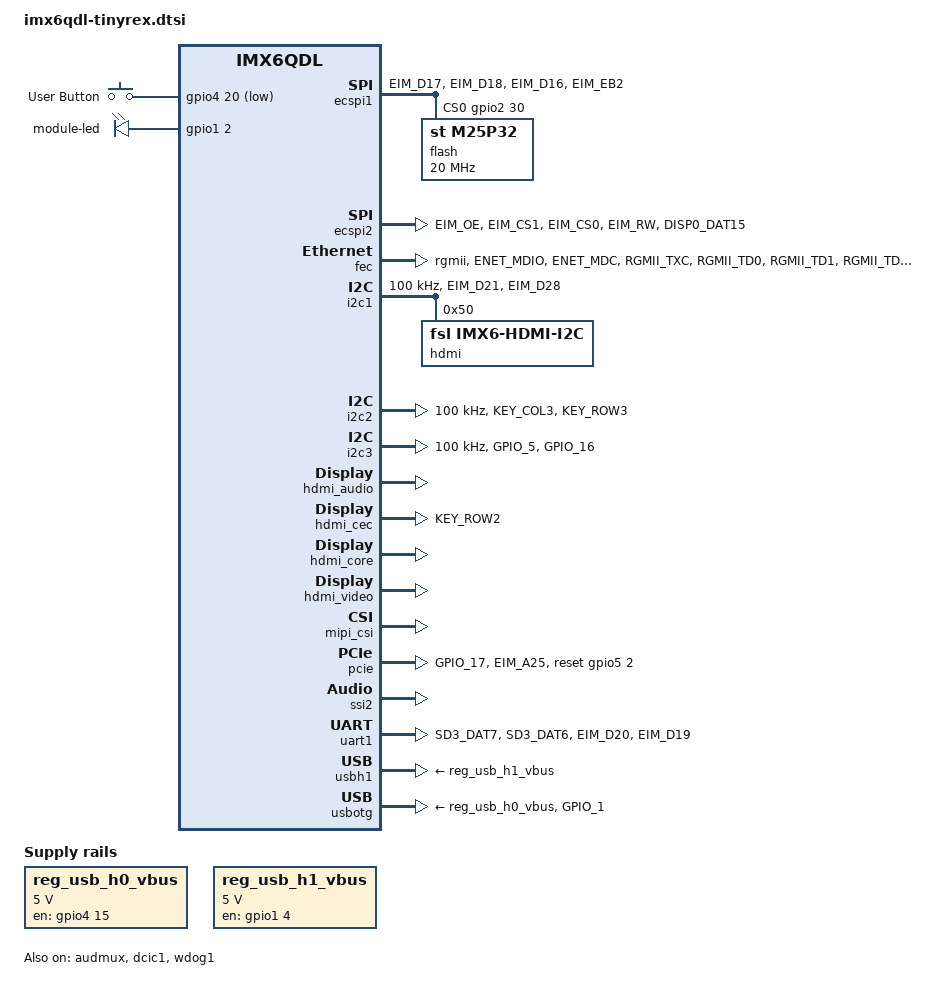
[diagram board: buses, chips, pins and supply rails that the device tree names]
/*
 * Copyright (C) 2015 Voipac.
 *
 * The code contained herein is licensed under the GNU General Public
 * License. You may obtain a copy of the GNU General Public License
 * Version 2 or later at the following locations:
 *
 * http://www.opensource.org/licenses/gpl-license.html
 * http://www.gnu.org/copyleft/gpl.html
 */

#include <dt-bindings/input/input.h>

/ {
	aliases {
		mxcfb0 = &mxcfb1;
		mxcfb1 = &mxcfb2;
		mxcfb2 = &mxcfb3;
		mxcfb3 = &mxcfb4;
	};

	gpio-keys {
		compatible = "gpio-keys";
		pinctrl-names = "default";
		pinctrl-0 = <&pinctrl_gpio_keys>;

		user {
			label = "User Button";
			gpios = <&gpio4 20 1>;
			gpio-key,wakeup;
			linux,code = <KEY_POWER>;
		};
	};

	lcd@0 {
		compatible = "fsl,lcd";
		ipu_id = <0>;
		disp_id = <0>;
		default_ifmt = "RGB565";
		pinctrl-names = "default";
		pinctrl-0 = <&pinctrl_ipu1_disp0>;
		status = "disabled";
	};

	leds {
		compatible = "gpio-leds";
		pinctrl-names = "default";
		pinctrl-0 = <&pinctrl_leds>;

		module-led {
			gpios = <&gpio1 2 0>;
			linux,default-trigger = "heartbeat";
			retain-state-suspended;
		};
	};

	mxcfb1: fb@0 {
		compatible = "fsl,mxc_sdc_fb";
		disp_dev = "hdmi";
		interface_pix_fmt = "RGB24";
		mode_str ="1920x1080M@60";
		default_bpp = <24>;
		int_clk = <0>;
		late_init = <0>;
		status = "disabled";
	};

	mxcfb2: fb@1 {
		compatible = "fsl,mxc_sdc_fb";
		disp_dev = "ldb";
		interface_pix_fmt = "RGB666";
		default_bpp = <16>;
		int_clk = <0>;
		late_init = <0>;
		status = "disabled";
	};

	mxcfb3: fb@2 {
		compatible = "fsl,mxc_sdc_fb";
		disp_dev = "lcd";
		interface_pix_fmt = "RGB565";
		mode_str ="CLAA-WVGA";
		default_bpp = <16>;
		int_clk = <0>;
		late_init = <0>;
		status = "disabled";
	};

	mxcfb4: fb@3 {
		compatible = "fsl,mxc_sdc_fb";
		disp_dev = "ldb";
		interface_pix_fmt = "RGB666";
		default_bpp = <16>;
		int_clk = <0>;
		late_init = <0>;
		status = "disabled";
	};

	regulators {
		compatible = "simple-bus";
		#address-cells = <1>;
		#size-cells = <0>;

		reg_usb_h0_vbus: regulator@0 {
			compatible = "regulator-fixed";
			reg = <0>;
			regulator-name = "usb_otg_vbus";
			regulator-min-microvolt = <5000000>;
			regulator-max-microvolt = <5000000>;
			gpio = <&gpio4 15 0>;
			enable-active-high;
		};

		reg_usb_h1_vbus: regulator@1 {
			compatible = "regulator-fixed";
			reg = <1>;
			regulator-name = "usb_h1_vbus";
			regulator-min-microvolt = <5000000>;
			regulator-max-microvolt = <5000000>;
			gpio = <&gpio1 4 0>;
			enable-active-high;
		};
	};

	sound-hdmi {
		compatible = "fsl,imx6q-audio-hdmi",
			     "fsl,imx-audio-hdmi";
		model = "imx-audio-hdmi";
		hdmi-controller = <&hdmi_audio>;
	};

	v4l2_cap_0 {
		compatible = "fsl,imx6q-v4l2-capture";
		ipu_id = <0>;
		csi_id = <0>;
		mclk_source = <0>;
		status = "okay";
	};
/*
	v4l2_cap_1 {
		compatible = "fsl,imx6q-v4l2-capture";
		ipu_id = <0>;
		csi_id = <1>;
		mclk_source = <0>;
		status = "okay";
	};
*/
	v4l2_out {
		compatible = "fsl,mxc_v4l2_output";
		status = "okay";
	};
};

&audmux {
	pinctrl-names = "default";
	pinctrl-0 = <&pinctrl_audmux>;
	status = "okay";
};

&ecspi1 {
	fsl,spi-num-chipselects = <1>;
	cs-gpios = <&gpio2 30 0>;
	pinctrl-names = "default";
	pinctrl-0 = <&pinctrl_ecspi1>;
	status = "okay";

	flash: m25p80@0 {
		#address-cells = <1>;
		#size-cells = <1>;
		compatible = "st,m25p32";
		spi-max-frequency = <20000000>;
		reg = <0>;
	};
};

&ecspi2 {
	fsl,spi-num-chipselects = <2>;
	cs-gpios = <&gpio2 26 0>, <&gpio5 9 0>;
	pinctrl-names = "default";
	pinctrl-0 = <&pinctrl_ecspi2>;
	status = "okay";
};

&fec {
	pinctrl-names = "default";
	pinctrl-0 = <&pinctrl_enet>;
	phy-mode = "rgmii";
	phy-reset-gpios = <&gpio1 25 0>;
	fsl,magic-packet;
	status = "okay";
};

&i2c1 {
	clock-frequency = <100000>;
	pinctrl-names = "default";
	pinctrl-0 = <&pinctrl_i2c1>;
	status = "okay";

	hdmi: edid@50 {
		compatible = "fsl,imx6-hdmi-i2c";
		reg = <0x50>;
	};
};

&i2c2 {
	clock-frequency = <100000>;
	pinctrl-names = "default";
	pinctrl-0 = <&pinctrl_i2c2>;
	status = "okay";
};

&i2c3 {
	clock-frequency = <100000>;
	pinctrl-names = "default";
	pinctrl-0 = <&pinctrl_i2c3>;
	status = "okay";
};

&iomuxc {
	pinctrl-names = "default";
	pinctrl-0 = <&pinctrl_hog>;

	imx6qdl-tinyrex {
		pinctrl_hog: hoggrp {
			fsl,pins = <
				MX6QDL_PAD_DISP0_DAT5__GPIO4_IO26	0x80000000 /* Board variant 0 */
				MX6QDL_PAD_DISP0_DAT14__GPIO5_IO08	0x80000000 /* Board variant 1 */
				MX6QDL_PAD_DISP0_DAT18__GPIO5_IO12	0x80000000 /* Board variant 2 */
				MX6QDL_PAD_NANDF_CS2__GPIO6_IO15	0x80000000 /* CPU Gpio 0 */
				MX6QDL_PAD_EIM_D22__GPIO3_IO22		0x80000000 /* CPU Gpio 1 */
				MX6QDL_PAD_KEY_ROW4__GPIO4_IO15 	0x80000000 /* USB0 Pwr */
				MX6QDL_PAD_GPIO_4__GPIO1_IO04 		0x80000000 /* USB1 Pwr */
				MX6QDL_PAD_GPIO_9__WDOG1_B		0x80000000 /* WDOG */
			>;
		};

		pinctrl_audmux: audmuxgrp {
			fsl,pins = <
				MX6QDL_PAD_SD2_DAT0__AUD4_RXD		0x130b0
				MX6QDL_PAD_SD2_DAT3__AUD4_TXC		0x130b0
				MX6QDL_PAD_SD2_DAT2__AUD4_TXD		0x110b0
				MX6QDL_PAD_SD2_DAT1__AUD4_TXFS		0x130b0
				MX6QDL_PAD_GPIO_0__CCM_CLKO1		0x80000000 /* AUD4 Clk */
			>;
		};

		pinctrl_ecspi1: ecspi1grp {
			fsl,pins = <
				MX6QDL_PAD_EIM_D17__ECSPI1_MISO		0x100b1
				MX6QDL_PAD_EIM_D18__ECSPI1_MOSI		0x100b1
				MX6QDL_PAD_EIM_D16__ECSPI1_SCLK		0x100b1
				MX6QDL_PAD_EIM_EB2__GPIO2_IO30		0x80000000 /* CS0 */
			>;
		};

		pinctrl_ecspi2: ecspi2grp {
			fsl,pins = <
				MX6QDL_PAD_EIM_OE__ECSPI2_MISO		0x100b1
				MX6QDL_PAD_EIM_CS1__ECSPI2_MOSI		0x100b1
				MX6QDL_PAD_EIM_CS0__ECSPI2_SCLK		0x100b1
				MX6QDL_PAD_EIM_RW__GPIO2_IO26		0x80000000 /* CS0 */
				MX6QDL_PAD_DISP0_DAT15__GPIO5_IO09	0x80000000 /* CS1 */
			>;
		};

		pinctrl_enet: enetgrp {
			fsl,pins = <
				MX6QDL_PAD_ENET_MDIO__ENET_MDIO		0x1b0b0
				MX6QDL_PAD_ENET_MDC__ENET_MDC		0x1b0b0
				MX6QDL_PAD_RGMII_TXC__RGMII_TXC		0x1b0b0
				MX6QDL_PAD_RGMII_TD0__RGMII_TD0		0x1b0b0
				MX6QDL_PAD_RGMII_TD1__RGMII_TD1		0x1b0b0
				MX6QDL_PAD_RGMII_TD2__RGMII_TD2		0x1b0b0
				MX6QDL_PAD_RGMII_TD3__RGMII_TD3		0x1b0b0
				MX6QDL_PAD_RGMII_TX_CTL__RGMII_TX_CTL	0x1b0b0
				MX6QDL_PAD_ENET_REF_CLK__ENET_TX_CLK	0x1b0b0
				MX6QDL_PAD_RGMII_RXC__RGMII_RXC		0x1b0b0
				MX6QDL_PAD_RGMII_RD0__RGMII_RD0		0x1b0b0
				MX6QDL_PAD_RGMII_RD1__RGMII_RD1		0x1b0b0
				MX6QDL_PAD_RGMII_RD2__RGMII_RD2		0x1b0b0
				MX6QDL_PAD_RGMII_RD3__RGMII_RD3		0x1b0b0
				MX6QDL_PAD_RGMII_RX_CTL__RGMII_RX_CTL	0x1b0b0
				MX6QDL_PAD_ENET_TX_EN__GPIO1_IO28	0x80000000 /* PHY Int */
				MX6QDL_PAD_ENET_RXD1__GPIO1_IO26	0x80000000 /* PHY Int */
				MX6QDL_PAD_ENET_CRS_DV__GPIO1_IO25	0x00000831 /* PHY Reset */
			>;
		};

		pinctrl_flexcan1: flexcan1grp {
			fsl,pins = <
				MX6QDL_PAD_GPIO_8__FLEXCAN1_RX		0x80000000
				MX6QDL_PAD_KEY_COL2__FLEXCAN1_TX	0x80000000
			>;
		};

		pinctrl_gpio_keys: gpio_keysgrp {
			fsl,pins = <
				MX6QDL_PAD_DI0_PIN4__GPIO4_IO20		0x80000000
			>;
		};

		pinctrl_hdmi_cec: hdmicecgrp {
			fsl,pins = <
				MX6QDL_PAD_KEY_ROW2__HDMI_TX_CEC_LINE	0x1f8b0
			>;
		};

		pinctrl_i2c1: i2c1grp {
			fsl,pins = <
				MX6QDL_PAD_EIM_D21__I2C1_SCL		0x4001b8b1
				MX6QDL_PAD_EIM_D28__I2C1_SDA		0x4001b8b1
			>;
		};

		pinctrl_i2c2: i2c2grp {
			fsl,pins = <
				MX6QDL_PAD_KEY_COL3__I2C2_SCL		0x4001b8b1
				MX6QDL_PAD_KEY_ROW3__I2C2_SDA		0x4001b8b1
			 >;
		};

		pinctrl_i2c3: i2c3grp {
			fsl,pins = <
				MX6QDL_PAD_GPIO_5__I2C3_SCL		0x4001b8b1
				MX6QDL_PAD_GPIO_16__I2C3_SDA		0x4001b8b1
			>;
		};

		pinctrl_ipu1_disp0: ipu1_disp0grp {
			fsl,pins = <
				MX6QDL_PAD_EIM_A16__IPU1_DI1_DISP_CLK	0x10
				MX6QDL_PAD_EIM_BCLK__IPU1_DI1_PIN16	0x10 /* WRX */
				MX6QDL_PAD_EIM_LBA__IPU1_DI1_PIN17	0x10 /* RDX */
				MX6QDL_PAD_EIM_DA13__IPU1_DI1_D0_CS	0x80000000
				MX6QDL_PAD_EIM_DA14__IPU1_DI1_D1_CS	0x80000000
				MX6QDL_PAD_EIM_DA10__IPU1_DI1_PIN15	0x10 /* D/CX */
				MX6QDL_PAD_EIM_DA11__IPU1_DI1_PIN02	0x10 /* HSYNC */
				MX6QDL_PAD_EIM_DA12__IPU1_DI1_PIN03	0x10 /* VSYNC */
				MX6QDL_PAD_EIM_DA15__IPU1_DI1_PIN04	0x80000000 /* Rst */
				MX6QDL_PAD_EIM_WAIT__GPIO5_IO00		0x80000000 /* Int */
				MX6QDL_PAD_EIM_DA9__IPU1_DISP1_DATA00	0x10
				MX6QDL_PAD_EIM_DA8__IPU1_DISP1_DATA01	0x10
				MX6QDL_PAD_EIM_DA7__IPU1_DISP1_DATA02	0x10
				MX6QDL_PAD_EIM_DA6__IPU1_DISP1_DATA03	0x10
				MX6QDL_PAD_EIM_DA5__IPU1_DISP1_DATA04	0x10
				MX6QDL_PAD_EIM_DA4__IPU1_DISP1_DATA05	0x10
				MX6QDL_PAD_EIM_DA3__IPU1_DISP1_DATA06	0x10
				MX6QDL_PAD_EIM_DA2__IPU1_DISP1_DATA07	0x10
				MX6QDL_PAD_EIM_DA1__IPU1_DISP1_DATA08	0x10
				MX6QDL_PAD_EIM_DA0__IPU1_DISP1_DATA09	0x10
				MX6QDL_PAD_EIM_EB1__IPU1_DISP1_DATA10	0x10
				MX6QDL_PAD_EIM_EB0__IPU1_DISP1_DATA11	0x10
				MX6QDL_PAD_EIM_A17__IPU1_DISP1_DATA12	0x10
				MX6QDL_PAD_EIM_A18__IPU1_DISP1_DATA13	0x10
				MX6QDL_PAD_EIM_A19__IPU1_DISP1_DATA14	0x10
				MX6QDL_PAD_EIM_A20__IPU1_DISP1_DATA15	0x10
				MX6QDL_PAD_EIM_A21__IPU1_DISP1_DATA16	0x10
				MX6QDL_PAD_EIM_A22__IPU1_DISP1_DATA17	0x10
				MX6QDL_PAD_EIM_A23__IPU1_DISP1_DATA18	0x10
				MX6QDL_PAD_EIM_A24__IPU1_DISP1_DATA19	0x10
//				MX6QDL_PAD_EIM_D31__IPU1_DISP1_DATA20	0x10
//				MX6QDL_PAD_EIM_D30__IPU1_DISP1_DATA21	0x10
//				MX6QDL_PAD_EIM_D26__IPU1_DISP1_DATA22	0x10
//				MX6QDL_PAD_EIM_D27__IPU1_DISP1_DATA23	0x10
			>;
		};

		pinctrl_ipu1_csi0: ipu1_csi0grp { /* parallel camera */
			fsl,pins = <
				MX6QDL_PAD_EIM_D27__IPU1_CSI0_DATA00	0x80000000
				MX6QDL_PAD_EIM_D26__IPU1_CSI0_DATA01	0x80000000
				MX6QDL_PAD_EIM_D31__IPU1_CSI0_DATA02	0x80000000
				MX6QDL_PAD_EIM_D30__IPU1_CSI0_DATA03	0x80000000
				MX6QDL_PAD_CSI0_DAT4__IPU1_CSI0_DATA04	0x80000000
				MX6QDL_PAD_CSI0_DAT5__IPU1_CSI0_DATA05	0x80000000
				MX6QDL_PAD_CSI0_DAT6__IPU1_CSI0_DATA06	0x80000000
				MX6QDL_PAD_CSI0_DAT7__IPU1_CSI0_DATA07	0x80000000
				MX6QDL_PAD_CSI0_DAT8__IPU1_CSI0_DATA08	0x80000000
				MX6QDL_PAD_CSI0_DAT9__IPU1_CSI0_DATA09	0x80000000
				MX6QDL_PAD_CSI0_DAT10__IPU1_CSI0_DATA10	0x80000000
				MX6QDL_PAD_CSI0_DAT11__IPU1_CSI0_DATA11	0x80000000
				MX6QDL_PAD_CSI0_DAT12__IPU1_CSI0_DATA12	0x80000000
				MX6QDL_PAD_CSI0_DAT13__IPU1_CSI0_DATA13	0x80000000
				MX6QDL_PAD_CSI0_DAT14__IPU1_CSI0_DATA14	0x80000000
				MX6QDL_PAD_CSI0_DAT15__IPU1_CSI0_DATA15	0x80000000
				MX6QDL_PAD_CSI0_DAT16__IPU1_CSI0_DATA16	0x80000000
				MX6QDL_PAD_CSI0_DAT17__IPU1_CSI0_DATA17	0x80000000
				MX6QDL_PAD_CSI0_DAT18__IPU1_CSI0_DATA18	0x80000000
				MX6QDL_PAD_CSI0_DAT19__IPU1_CSI0_DATA19	0x80000000
				MX6QDL_PAD_CSI0_DATA_EN__IPU1_CSI0_DATA_EN	0x80000000
				MX6QDL_PAD_CSI0_PIXCLK__IPU1_CSI0_PIXCLK	0x80000000
				MX6QDL_PAD_CSI0_MCLK__IPU1_CSI0_HSYNC	0x80000000
				MX6QDL_PAD_CSI0_VSYNC__IPU1_CSI0_VSYNC	0x80000000
				MX6QDL_PAD_GPIO_18__GPIO7_IO13		0x80000000 /* CSI0 Int */
				MX6QDL_PAD_GPIO_7__GPIO1_IO07		0x80000000 /* CSI0 Rst */
			>;
		};

		pinctrl_leds: ledsgrp {
			fsl,pins = <
				MX6QDL_PAD_GPIO_2__GPIO1_IO02 		0x80000000 /* Module */
			>;
		};

		pinctrl_lvds: lvdsgrp {
			fsl,pins = <
				MX6QDL_PAD_GPIO_6__GPIO1_IO06		0x80000000 /* LVDS CABC */
				MX6QDL_PAD_DISP0_DAT21__GPIO5_IO15	0x80000000 /* LVDS Pwm */
			>;
		};

		pinctrl_pcie: pciegrp {
			fsl,pins = <
				MX6QDL_PAD_GPIO_17__GPIO7_IO12      	0x80000000 /* Wake */
				MX6QDL_PAD_EIM_A25__GPIO5_IO02		0x80000000 /* Reset */
			>;
		};

		pinctrl_pwm1: pwm1grp {
			fsl,pins = <
				MX6QDL_PAD_DISP0_DAT8__PWM1_OUT		0x1b0b1
			>;
		};

		pinctrl_pwm2: pwm2grp {
			fsl,pins = <
				MX6QDL_PAD_DISP0_DAT9__PWM2_OUT		0x1b0b1
			>;
		};

		pinctrl_uart1: uart1grp {
			fsl,pins = <
				MX6QDL_PAD_SD3_DAT7__UART1_TX_DATA	0x1b0b1
				MX6QDL_PAD_SD3_DAT6__UART1_RX_DATA	0x1b0b1
				MX6QDL_PAD_EIM_D20__UART1_RTS_B		0x1b0b1
				MX6QDL_PAD_EIM_D19__UART1_CTS_B		0x1b0b1
			>;
		};

		pinctrl_uart2: uart2grp {
			fsl,pins = <
				MX6QDL_PAD_SD3_DAT5__UART2_TX_DATA	0x1b0b1
				MX6QDL_PAD_SD3_DAT4__UART2_RX_DATA	0x1b0b1
			>;
		};

		pinctrl_uart3: uart3grp {
			fsl,pins = <
				MX6QDL_PAD_EIM_D24__UART3_TX_DATA	0x1b0b1
				MX6QDL_PAD_EIM_D25__UART3_RX_DATA	0x1b0b1
				MX6QDL_PAD_EIM_EB3__UART3_RTS_B		0x1b0b1
				MX6QDL_PAD_EIM_D23__UART3_CTS_B		0x1b0b1
			>;
		};

		pinctrl_uart4: uart4grp {
			fsl,pins = <
				MX6QDL_PAD_KEY_COL0__UART4_TX_DATA	0x1b0b1
				MX6QDL_PAD_KEY_ROW0__UART4_RX_DATA	0x1b0b1
			>;
		};

		pinctrl_uart5: uart5grp {
			fsl,pins = <
				MX6QDL_PAD_KEY_COL1__UART5_TX_DATA	0x1b0b1
				MX6QDL_PAD_KEY_ROW1__UART5_RX_DATA	0x1b0b1
			>;
		};

		pinctrl_usbotg: usbotggrp {
			fsl,pins = <
				MX6QDL_PAD_GPIO_1__USB_OTG_ID		0x17059
			>;
		};

		pinctrl_usdhc1: usdhc1grp {
			fsl,pins = <
				MX6QDL_PAD_SD1_CMD__SD1_CMD		0x17059
				MX6QDL_PAD_SD1_CLK__SD1_CLK		0x10059
				MX6QDL_PAD_SD1_DAT0__SD1_DATA0		0x17059
				MX6QDL_PAD_SD1_DAT1__SD1_DATA1		0x17059
				MX6QDL_PAD_SD1_DAT2__SD1_DATA2		0x17059
				MX6QDL_PAD_SD1_DAT3__SD1_DATA3		0x17059
				MX6QDL_PAD_NANDF_D0__SD1_DATA4		0x17059
				MX6QDL_PAD_NANDF_D1__SD1_DATA5		0x17059
				MX6QDL_PAD_NANDF_D2__SD1_DATA6		0x17059
				MX6QDL_PAD_NANDF_D3__SD1_DATA7		0x17059
				MX6QDL_PAD_SD2_CLK__GPIO1_IO10		0x80000000 /* CD */
				MX6QDL_PAD_SD2_CMD__GPIO1_IO11		0x80000000 /* WP */
			>;
		};


		pinctrl_usdhc3: usdhc3grp {
			fsl,pins = <
				MX6QDL_PAD_SD3_CMD__SD3_CMD		0x17059
				MX6QDL_PAD_SD3_CLK__SD3_CLK		0x10059
				MX6QDL_PAD_SD3_DAT0__SD3_DATA0		0x17059
				MX6QDL_PAD_SD3_DAT1__SD3_DATA1		0x17059
				MX6QDL_PAD_SD3_DAT2__SD3_DATA2		0x17059
				MX6QDL_PAD_SD3_DAT3__SD3_DATA3		0x17059
				MX6QDL_PAD_SD3_RST__GPIO7_IO08		0x80000000 /* CD */
				MX6QDL_PAD_NANDF_CS3__GPIO6_IO16	0x80000000 /* WP */
			>;
		};

		pinctrl_usdhc4: usdhc4grp {
			fsl,pins = <
				MX6QDL_PAD_SD4_CMD__SD4_CMD		0x17059
				MX6QDL_PAD_SD4_CLK__SD4_CLK		0x10059
				MX6QDL_PAD_SD4_DAT0__SD4_DATA0		0x17059
				MX6QDL_PAD_SD4_DAT1__SD4_DATA1		0x17059
				MX6QDL_PAD_SD4_DAT2__SD4_DATA2		0x17059
				MX6QDL_PAD_SD4_DAT3__SD4_DATA3		0x17059
				MX6QDL_PAD_SD4_DAT4__SD4_DATA4		0x17059
				MX6QDL_PAD_SD4_DAT5__SD4_DATA5		0x17059
				MX6QDL_PAD_SD4_DAT6__SD4_DATA6		0x17059
				MX6QDL_PAD_SD4_DAT7__SD4_DATA7		0x17059
				MX6QDL_PAD_NANDF_CS0__GPIO6_IO11	0x80000000 /* CD */
				MX6QDL_PAD_NANDF_CS1__GPIO6_IO14	0x80000000 /* WP */
			>;
		};

	};
};

&dcic1 {
	dcic_id = <0>;
	dcic_mux = "dcic-hdmi";
	status = "okay";
};

&flexcan1 {
	pinctrl-names = "default";
	pinctrl-0 = <&pinctrl_flexcan1>;
	status = "disabled";
};

&gpc {
	/* use ldo-bypass, u-boot will check it and configure */
	fsl,ldo-bypass = <1>;
	fsl,wdog-reset = <1>;
};

&hdmi_audio {
	status = "okay";
};

&hdmi_cec {
	pinctrl-names = "default";
	pinctrl-0 = <&pinctrl_hdmi_cec>;
	status = "okay";
};

&hdmi_core {
	ipu_id = <0>;
	disp_id = <0>;
	status = "okay";
};

&hdmi_video {
	fsl,phy_reg_vlev = <0x0294>;
	fsl,phy_reg_cksymtx = <0x800d>;
	status = "okay";
};

&ldb {
	status = "disabled";

	lvds-channel@0 {
		fsl,data-mapping = "spwg";
		fsl,data-width = <18>;
		status = "okay";

		display-timings {
			native-mode = <&timing0>;
			timing0: hsd100pxn1 {
				clock-frequency = <65000000>;
				hactive = <1024>;
				vactive = <768>;
				hback-porch = <220>;
				hfront-porch = <40>;
				vback-porch = <21>;
				vfront-porch = <7>;
				hsync-len = <60>;
				vsync-len = <10>;
			};
		};
	};

	lvds-channel@1 {
		fsl,data-mapping = "spwg";
		fsl,data-width = <18>;
		status = "okay";

		display-timings {
			native-mode = <&timing1>;
			timing1: hsd100pxn1 {
				clock-frequency = <65000000>;
				hactive = <1024>;
				vactive = <768>;
				hback-porch = <220>;
				hfront-porch = <40>;
				vback-porch = <21>;
				vfront-porch = <7>;
				hsync-len = <60>;
				vsync-len = <10>;
			};
		};
	};
};

&mipi_csi {
	ipu_id = <0>;
	csi_id = <1>;
	v_channel = <0>;
	lanes = <2>;
	status = "okay";
};

&mipi_dsi {
	dev_id = <0>;
	disp_id = <1>;
	status = "disabled";
};

&pcie {
	pinctrl-names = "default";
	pinctrl-0 = <&pinctrl_pcie>;
	reset-gpio = <&gpio5 2 0>;
	status = "okay";
};

&pwm1 {
	pinctrl-names = "default";
	pinctrl-0 = <&pinctrl_pwm1>;
	status = "disabled";
};

&pwm2 {
	pinctrl-names = "default";
	pinctrl-0 = <&pinctrl_pwm2>;
	status = "disabled";
};

&ssi2 {
	fsl,mode = "i2s-slave";
	status = "okay";
};

&uart1 {
	pinctrl-names = "default";
	pinctrl-0 = <&pinctrl_uart1>;
	status = "okay";
};

&uart2 {
	pinctrl-names = "default";
	pinctrl-0 = <&pinctrl_uart2>;
	status = "disabled";
};

&uart3 {
	pinctrl-names = "default";
	pinctrl-0 = <&pinctrl_uart3>;
	status = "disabled";
};

&uart4 {
	pinctrl-names = "default";
	pinctrl-0 = <&pinctrl_uart4>;
	status = "disabled";
};

&uart5 {
	pinctrl-names = "default";
	pinctrl-0 = <&pinctrl_uart5>;
	status = "disabled";
};

&usbh1 {
	vbus-supply = <&reg_usb_h1_vbus>;
	status = "okay";
};

&usbotg {
	vbus-supply = <&reg_usb_h0_vbus>;
	pinctrl-names = "default";
	pinctrl-0 = <&pinctrl_usbotg>;
	disable-over-current;
	status = "okay";
};

&usdhc1 {
	pinctrl-names = "default";
	pinctrl-0 = <&pinctrl_usdhc1>;
	bus-width = <8>;
	cd-gpios = <&gpio1 10 0>;
	wp-gpios = <&gpio1 11 0>;
	no-1-8-v;
	keep-power-in-suspend;
	enable-sdio-wakeup;
	status = "disabled";
};

&usdhc3 {
	pinctrl-names = "default";
	pinctrl-0 = <&pinctrl_usdhc3>;
	bus-width = <4>;
	cd-gpios = <&gpio7 8 0>;
	wp-gpios = <&gpio6 16 0>;
	non-removable;
	no-1-8-v;
	keep-power-in-suspend;
	status = "disabled";
};

&usdhc4 {
	pinctrl-names = "default";
	pinctrl-0 = <&pinctrl_usdhc4>;
	bus-width = <8>;
	cd-gpios = <&gpio6 11 0>;
	wp-gpios = <&gpio6 14 0>;
	no-1-8-v;
	keep-power-in-suspend;
	enable-sdio-wakeup;
	status = "disabled";
};

&wdog1 {
	status = "okay";
};

&wdog2 {
	status = "disabled";
};
